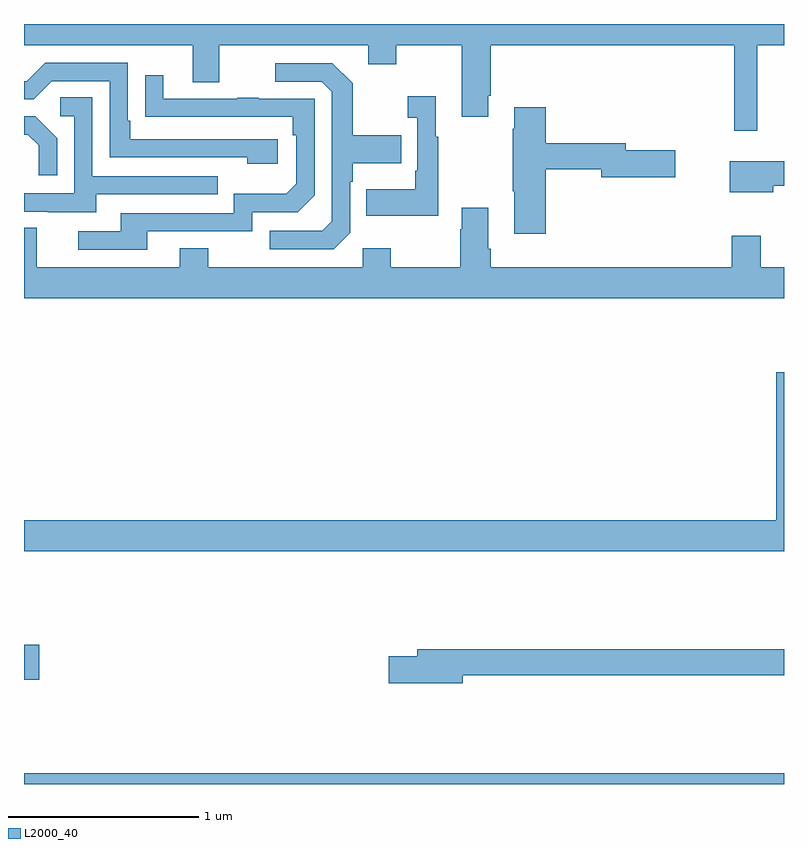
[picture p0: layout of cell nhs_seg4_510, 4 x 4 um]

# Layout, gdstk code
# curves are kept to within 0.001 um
import gdstk
lib = gdstk.Library(unit=1e-6, precision=1e-09)
def R(c, l, rs):  # rectangles x0, y0, x1, y1
    for r in rs: c.add(gdstk.rectangle(r[:2], r[2:], *l))
def P(c, l, *ps):  # polygons
    for p in ps: c.add(gdstk.Polygon(p, *l))
L2000_40 = (2000, 40)

nhs_seg4_510 = lib.new_cell('nhs_seg4_510')
R(nhs_seg4_510, L2000_40, [(135,824.9,139,824.956), (135,825.449,135.079,825.632)])
P(nhs_seg4_510, L2000_40, [(138.859,828.788),(139,828.788),(139,828.9),(135,828.9),(135,828.788),(135.887,828.788),(135.887,828.594),(136.027,828.594),(136.027,828.788),(136.811,828.788),(136.811,828.689),(136.959,828.689),(136.959,828.788),(137.303,828.788),(137.303,828.411),(137.443,828.411),(137.443,828.523),(137.456,828.523),(137.456,828.788),(138.738,828.788),(138.738,828.339),(138.859,828.339)],
  [(136.336,828.294),(135.559,828.294),(135.559,828.391),(135.546,828.391),(135.546,828.696),(135.111,828.696),(135.015,828.6),(135,828.6),(135,828.504),(135.051,828.504),(135.147,828.6),(135.45,828.6),(135.45,828.198),(136.175,828.198),(136.175,828.164),(136.336,828.164)],
  [(136.716,827.802),(136.716,828.071),(136.729,828.071),(136.729,828.167),(136.985,828.167),(136.985,828.315),(136.729,828.315),(136.729,828.587),(136.623,828.693),(136.323,828.693),(136.323,828.597),(136.566,828.597),(136.62,828.543),(136.62,827.862),(136.569,827.811),(136.293,827.811),(136.293,827.715),(136.629,827.715)],
  [(135.649,827.808),(136.2,827.808),(136.2,827.91),(136.44,827.91),(136.53,828),(136.53,828.507),(136.235,828.507),(136.235,828.512),(136.123,828.512),(136.123,828.507),(135.733,828.507),(135.733,828.631),(135.637,828.631),(135.637,828.412),(136.414,828.411),(136.414,828.314),(136.434,828.314),(136.434,828.06),(136.381,828.007),(136.104,828.007),(136.104,827.904),(135.509,827.904),(135.509,827.808),(135.285,827.808),(135.285,827.712),(135.649,827.712)],
  [(137.179,828.307),(137.167,828.307),(137.167,828.52),(137.019,828.52),(137.019,828.407),(137.07,828.407),(137.07,828.127),(137.058,828.127),(137.058,828.031),(136.801,828.031),(136.801,827.891),(137.179,827.891)],
  [(135.379,828.003),(136.019,828.003),(136.019,828.099),(135.36,828.099),(135.36,828.515),(135.192,828.515),(135.192,828.414),(135.264,828.414),(135.264,828.009),(135,828.009),(135,827.913),(135.125,827.913),(135.125,827.909),(135.379,827.909)],
  [(137.747,828.136),(138.038,828.136),(138.038,828.094),(138.427,828.094),(138.427,828.236),(138.166,828.236),(138.166,828.272),(137.747,828.272),(137.747,828.463),(137.579,828.463),(137.579,828.35),(137.572,828.35),(137.572,828.019),(137.579,828.019),(137.579,827.796),(137.747,827.796)],
  [(135.174,828.298),(135.058,828.414),(135,828.414),(135,828.318),(135.02,828.318),(135.077,828.261),(135.077,828.105),(135.174,828.105)],
  [(138.943,828.05),(139,828.05),(139,828.178),(138.714,828.178),(138.714,828.014),(138.943,828.014)],
  [(139,827.62),(138.877,827.62),(138.877,827.785),(138.725,827.785),(138.725,827.62),(137.456,827.62),(137.456,827.716),(137.443,827.716),(137.443,827.932),(137.303,827.932),(137.303,827.819),(137.296,827.819),(137.296,827.62),(136.929,827.62),(136.929,827.719),(136.782,827.719),(136.782,827.62),(135.969,827.62),(135.969,827.719),(135.821,827.719),(135.821,827.62),(135.067,827.62),(135.067,827.828),(135,827.828),(135,827.456),(139,827.456)],
  [(139,827.068),(138.959,827.068),(138.959,826.288),(135,826.288),(135,826.124),(139,826.124)],
  [(137.308,825.472),(139,825.472),(139,825.608),(137.069,825.608),(137.069,825.572),(136.92,825.572),(136.92,825.43),(137.308,825.43)])

lib.write_gds('nhs_seg4_510.gds')
